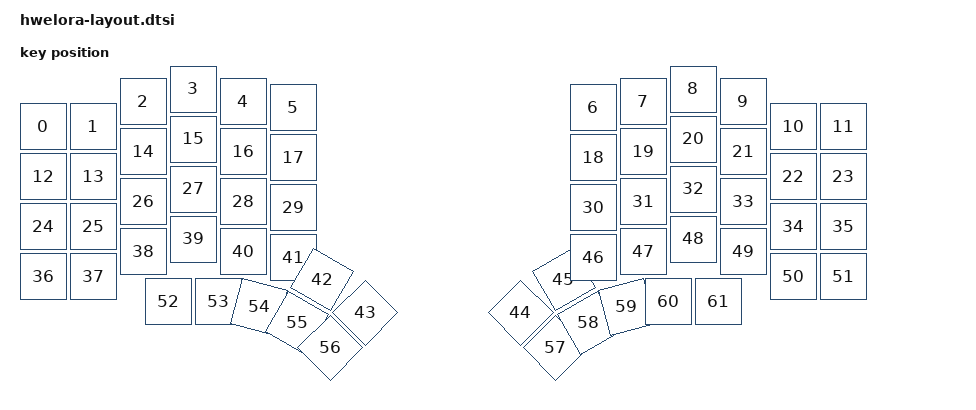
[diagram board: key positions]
#include <physical_layouts.dtsi>

/ {
    hwelora_layout: hwelora_layout {
        compatible = "zmk,physical-layout";
        display-name = "Elora";
		transform = <&default_transform>;

        keys  //                     w   h    x    y     rot    rx    ry
            = <&key_physical_attrs 100 100    0   75       0     0     0>
            , <&key_physical_attrs 100 100  100   75       0     0     0>
            , <&key_physical_attrs 100 100  200   25       0     0     0>
            , <&key_physical_attrs 100 100  300    0       0     0     0>
            , <&key_physical_attrs 100 100  400   25       0     0     0>
            , <&key_physical_attrs 100 100  500   37       0     0     0>
            , <&key_physical_attrs 100 100 1100   37       0     0     0>
            , <&key_physical_attrs 100 100 1200   25       0     0     0>
            , <&key_physical_attrs 100 100 1300    0       0     0     0>
            , <&key_physical_attrs 100 100 1400   25       0     0     0>
            , <&key_physical_attrs 100 100 1500   75       0     0     0>
            , <&key_physical_attrs 100 100 1600   75       0     0     0>
            , <&key_physical_attrs 100 100    0  175       0     0     0>
            , <&key_physical_attrs 100 100  100  175       0     0     0>
            , <&key_physical_attrs 100 100  200  125       0     0     0>
            , <&key_physical_attrs 100 100  300  100       0     0     0>
            , <&key_physical_attrs 100 100  400  125       0     0     0>
            , <&key_physical_attrs 100 100  500  137       0     0     0>
            , <&key_physical_attrs 100 100 1100  137       0     0     0>
            , <&key_physical_attrs 100 100 1200  125       0     0     0>
            , <&key_physical_attrs 100 100 1300  100       0     0     0>
            , <&key_physical_attrs 100 100 1400  125       0     0     0>
            , <&key_physical_attrs 100 100 1500  175       0     0     0>
            , <&key_physical_attrs 100 100 1600  175       0     0     0>
            , <&key_physical_attrs 100 100    0  275       0     0     0>
            , <&key_physical_attrs 100 100  100  275       0     0     0>
            , <&key_physical_attrs 100 100  200  225       0     0     0>
            , <&key_physical_attrs 100 100  300  200       0     0     0>
            , <&key_physical_attrs 100 100  400  225       0     0     0>
            , <&key_physical_attrs 100 100  500  237       0     0     0>
            , <&key_physical_attrs 100 100 1100  237       0     0     0>
            , <&key_physical_attrs 100 100 1200  225       0     0     0>
            , <&key_physical_attrs 100 100 1300  200       0     0     0>
            , <&key_physical_attrs 100 100 1400  225       0     0     0>
            , <&key_physical_attrs 100 100 1500  275       0     0     0>
            , <&key_physical_attrs 100 100 1600  275       0     0     0>
            , <&key_physical_attrs 100 100    0  375       0     0     0>
            , <&key_physical_attrs 100 100  100  375       0     0     0>
            , <&key_physical_attrs 100 100  200  325       0     0     0>
            , <&key_physical_attrs 100 100  300  300       0     0     0>
            , <&key_physical_attrs 100 100  400  325       0     0     0>
            , <&key_physical_attrs 100 100  500  337       0     0     0>
            , <&key_physical_attrs 100 100  350  325    3000   400   792>
            , <&key_physical_attrs 100 100  350  325    4500   400   792>
            , <&key_physical_attrs 100 100 1250  325 (-4500)  1300   792>
            , <&key_physical_attrs 100 100 1250  325 (-3000)  1300   792>
            , <&key_physical_attrs 100 100 1100  337       0     0     0>
            , <&key_physical_attrs 100 100 1200  325       0     0     0>
            , <&key_physical_attrs 100 100 1300  300       0     0     0>
            , <&key_physical_attrs 100 100 1400  325       0     0     0>
            , <&key_physical_attrs 100 100 1500  375       0     0     0>
            , <&key_physical_attrs 100 100 1600  375       0     0     0>
            , <&key_physical_attrs 100 100  250  425       0     0     0>
            , <&key_physical_attrs 100 100  350  425       0     0     0>
            , <&key_physical_attrs 100 100  350  425    1500   400   792>
            , <&key_physical_attrs 100 100  350  425    3000   400   792>
            , <&key_physical_attrs 100 100  350  425    4500   400   792>
            , <&key_physical_attrs 100 100 1250  425 (-4500)  1300   792>
            , <&key_physical_attrs 100 100 1250  425 (-3000)  1300   792>
            , <&key_physical_attrs 100 100 1250  425 (-1500)  1300   792>
            , <&key_physical_attrs 100 100 1250  425       0     0     0>
            , <&key_physical_attrs 100 100 1350  425       0     0     0>
            ;
    };

    hwelora_position_map {
        compatible = "zmk,physical-layout-position-map";

        complete;

        twelve {
            physical-layout = <&hwelora_layout>;
            positions
                = < 0  1  2  3  4  5              6  7  8  9 10 11>
                , <12 13 14 15 16 17             18 19 20 21 22 23>
                , <24 25 26 27 28 29             30 31 32 33 34 35>
                , <36 37 38 39 40 41 42 43 44 45 46 47 48 49 50 51>
                , <         52 53 54 55 56 57 58 59 60 61         >;
        };
    };
};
